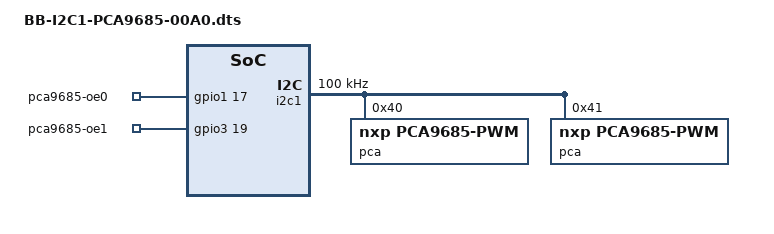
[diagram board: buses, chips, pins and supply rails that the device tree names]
/*
 * Copyright (C) 2015 Robert Nelson <robertcnelson@gmail.com>
 *
 * This program is free software; you can redistribute it and/or modify
 * it under the terms of the GNU General Public License version 2 as
 * published by the Free Software Foundation.
 */
/dts-v1/;
/plugin/;

#include <dt-bindings/board/am335x-bbw-bbb-base.h>
#include <dt-bindings/gpio/gpio.h>
#include <dt-bindings/pinctrl/am33xx.h>

/ {
	compatible = "ti,beaglebone", "ti,beaglebone-black", "ti,beaglebone-green";

	/* identification */
	part-number = "BB-I2C1-PCA9685";
	version = "00A0";

	/* state the resources this cape uses */
	exclusive-use =
		/* the pin header uses */
		"P9.23",	/* gpio1_17 */
		"P9.27",	/* gpio3_19 */
		"P9.18",	/* i2c1_sda */
		"P9.17",	/* i2c1_scl */
		/* the hardware ip uses */
		"gpio1_17",
		"gpio3_19",
		"i2c1";

	fragment@0 {
		target = <&am33xx_pinmux>;
		__overlay__ {

			bb_pca9685_oe0_pins: pinmux_bb_pca9685_oe0_pins {
				pinctrl-single,pins = <
					BONE_P9_23 (PIN_OUTPUT_PULLDOWN | MUX_MODE7) /* gpmc_a1.gpio1_17 */
					BONE_P9_27 (PIN_OUTPUT_PULLDOWN | MUX_MODE7) /* mcasp0_fsr.gpio3_19 */
				>;
			};

			bb_i2c1_pins: pinmux_bb_i2c1_pins {
				pinctrl-single,pins = <
					BONE_P9_18 (SLEWCTRL_SLOW | PIN_INPUT_PULLUP | MUX_MODE2) /* spi0_d1.i2c1_sda */
					BONE_P9_17 (SLEWCTRL_SLOW | PIN_INPUT_PULLUP | MUX_MODE2) /* spi0_cs0.i2c1_scl */
				>;
			};
		};
	};

	fragment@1 {
		target-path="/";
		__overlay__ {

			leds {
				pinctrl-names = "default";
				pinctrl-0 = <&bb_pca9685_oe0_pins>;

				compatible = "gpio-leds";

				pca9685-oe@0 {
					label = "pca9685-oe0";
					gpios = <&gpio1 17 GPIO_ACTIVE_HIGH>;
					default-state = "on";
				};

				pca9685-oe@1 {
					label = "pca9685-oe1";
					gpios = <&gpio3 19 GPIO_ACTIVE_HIGH>;
					default-state = "on";
				};
			};
		};
	};

	fragment@2 {
		target = <&i2c1>;
		__overlay__ {
			pinctrl-names = "default";
			pinctrl-0 = <&bb_i2c1_pins>;
			status = "okay";

			clock-frequency = <100000>;

			/* shut up DTC warnings */
			#address-cells = <1>;
			#size-cells = <0>;

			/* pca9685 pwm module 0 */
			pca@40 {
				compatible = "nxp,pca9685-pwm";
				#pwm-cells = <2>;
				reg = <0x40>;
				/* invert; */
				/* open-drain; */
			};

			/* pca9685 pwm module 1 */
			pca@41 {
				compatible = "nxp,pca9685-pwm";
				#pwm-cells = <2>;
				reg = <0x41>;
				/* invert; */
				/* open-drain; */
			};
		};
	};
};
